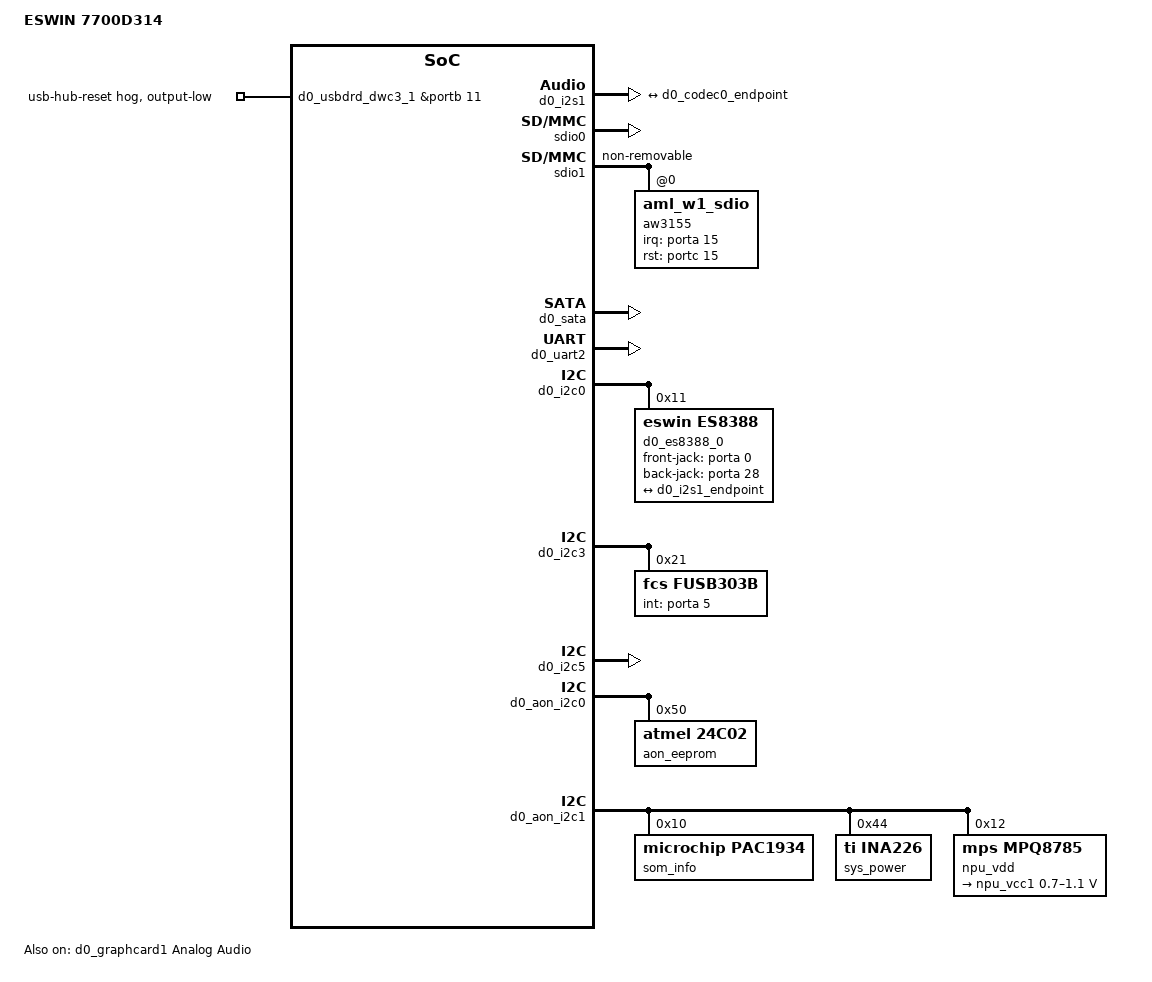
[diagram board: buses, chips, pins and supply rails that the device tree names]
// SPDX-License-Identifier: GPL-2.0
/*
 * Device Tree file for Eswin EIC7700 SoC.
 *
 * Copyright 2024, Beijing ESWIN Computing Technology Co., Ltd.. All rights reserved.
 * SPDX-License-Identifier: GPL-2.0
 *
 * This program is free software: you can redistribute it and/or modify
 * it under the terms of the GNU General Public License as published by
 * the Free Software Foundation, version 2.
 *
 * This program is distributed in the hope that it will be useful,
 * but WITHOUT ANY WARRANTY; without even the implied warranty of
 * MERCHANTABILITY or FITNESS FOR A PARTICULAR PURPOSE.  See the
 * GNU General Public License for more details.
 *
 * You should have received a copy of the GNU General Public License
 * along with this program.  If not, see <https://www.gnu.org/licenses/>.
 */

/dts-v1/;

#include "eic7700-som314.dtsi"

/ {
	#address-cells = <2>;
	#size-cells = <2>;
	model = "ESWIN 7700D314";
};

&pcie {
	/* GPIO12 PCIE PRSNT input */
};

&d0_usbdrd_dwc3_1 {
	usb-hub {
		gpio-hog;
		pinctrl-names = "default";
		pinctrl-0 = <&pinctrl_gpio43_default>;
		gpios = <&portb 11 GPIO_ACTIVE_HIGH>;
		output-low;
		line-name = "usb-hub-reset";
	};
};

&dsi_panel {
	status = "okay";
	pinctrl-names = "default";
	pinctrl-0 = <&pinctrl_gpio82_default &pinctrl_gpio85_default>;
	backlight0-gpios = <&portc 18 GPIO_ACTIVE_HIGH>;
	rst-gpios = <&portc 21 GPIO_ACTIVE_HIGH>;
};

&d0_i2s1 {
	status = "okay";
	d0_i2s1_port: port {
		d0_i2s1_endpoint: endpoint {
			remote-endpoint = <&d0_codec0_endpoint>;
			dai-format = "i2s";
		};
	};
};

&d0_i2s2 {
	/* connect WIFI module */
	status = "disabled";
};

&d0_graphcard1 {
	status = "okay";
	label = "Analog Audio";
	dais = <&d0_i2s1_port>;
};

&d0_graphcard2 {
	status = "disabled";
};

&isp_0 {
	status = "disabled";
};

&isp_1 {
	status = "disabled";
};

&sdio0 {
	/* sd card */
	status = "okay";
	delay_code = <0x55>;
	drive-impedance-ohm = <33>;
	enable-cmd-pullup;
	enable-data-pullup;
	no-sdio;
	no-mmc;
};

&sdio1 {
	/* wifi module */
	status = "okay";
	delay_code = <0x29>;
	drive-impedance-ohm = <33>;
	enable-cmd-pullup;
	enable-data-pullup;
	non-removable;
	keep-power-in-suspend;
	no-sd;
	no-mmc;
	aw3155:wifi_aw3155@0 {
		compatible = "aml_w1_sdio";
		reg = <0x0>;
		interrupt-parent = <&porta>;
		interrupts = <15 IRQ_TYPE_LEVEL_LOW>;
		pinctrl-names = "default", "default";
		pinctrl-0 = <&pinctrl_gpio15_default>;
		pinctrl-1 = <&pinctrl_gpio79_default>;
		irq-gpios = <&porta 15 GPIO_ACTIVE_HIGH>;
		rst-gpios = <&portc 15 GPIO_ACTIVE_HIGH>;
	};
};

&d0_sata {
	status = "okay";
	pinctrl-names = "default";
	pinctrl-0 = <&pinctrl_sata_act_led_default>;
};

&d0_uart1 {
	/* M.2 KEY E */
	status = "disabled";
};

&d0_uart2 {
	/* connect MCU */
	status = "okay";
};

&d0_uart3 {
	/* pin header mux with GPIO 92,93 */
	status = "disabled";
};

&d0_uart4 {
	/* unused */
	status = "disabled";
};

&ssi0 {
	/* pin header mux with GPIO 35,36,37,38,39,40 */
	status = "disabled";
};

&ssi1 {
	/* unused */
	status = "disabled";
};

&d0_i2c0 {
	/* codec es8388 */
	status = "okay";
	d0_es8388_0: es8388-0@11 {
		compatible = "eswin,es8388";
		reg = <0x11>;
		#sound-dai-cells = <0>;
		eswin-plat = <2>;
		pinctrl-names = "default";
		pinctrl-0 = <&pinctrl_gpio0_default &pinctrl_gpio28_default>;
		front-jack-gpios = <&porta 0 GPIO_ACTIVE_HIGH>;
		back-jack-gpios = <&porta 28 GPIO_ACTIVE_HIGH>;
		port {
			d0_codec0_endpoint: endpoint {
				system-clock-frequency = <12288000>;
				remote-endpoint = <&d0_i2s1_endpoint>;
			};
		};
	};
};

&d0_i2c1 {
	/* pin header mux with GPIO 46,47 */
	status = "disabled";
};

&d0_i2c2 {
	/* mipi dsi touch ctrl con */
	status = "disabled";
};

&d0_i2c3 {
	/* FUSB303B cc logic */
	status = "okay";
	fusb303b@21 {
		compatible = "fcs,fusb303b";
		status = "okay";
		reg = <0x21>;
		eswin,syscfg = <&d0_sys_con 0x3C0 12>;

		pinctrl-names = "default";
		pinctrl-0 = <&pinctrl_gpio5_default>;
		int-gpios = <&porta 5 GPIO_ACTIVE_HIGH>;
		connector {
			compatible = "usb-c-connector";
			label = "USB-C";
			data-role = "host";
		};
	};

};

&d0_i2c4 {
	/* unused */
	status = "disabled";
};

&d0_i2c5 {
	/* PCA9548 */
	status = "okay";
};

&d0_i2c6 {
	/* unused */
	status = "disabled";
};

&d0_i2c7 {
	/* unused */
	status = "disabled";
};

&d0_i2c8 {
	/* unused */
	status = "disabled";
};

&d0_i2c9 {
	/* unused */
	status = "disabled";
};

&d0_aon_i2c0 {
	/* AT24C02C EEPROM */
	status = "okay";
	eswin,syscfg = <&d0_sys_con 0x3C0 16>;
	aon_eeprom@50 {
		compatible = "atmel,24c02";
		reg = <0x50>;
	};
};

&d0_aon_i2c1 {
	/* PCA9450 & SiC451 & INA226 & PAC1934 */
	status = "okay";
	eswin,syscfg = <&d0_sys_con 0x3C0 15>;
	i2c-sda-hold-time-ns = <0x40>;
	pac1934:pmic@10 {
		compatible = "microchip,pac1934";
		/*update all register data*/
		update_time_ms = <1000>;
		eswin,chan_label = "som vdd", "soc vdd", "cpu vdd", "ddr lpvdd";
		label = "som_info";
		/*The update number of times the energy accumulates*/
		energy_acc_count = <0>;
		shunt_resistors=<1 1 1 1>;
		reg = <0x10>;
	};

	sys_power:ina226@44 {
		compatible = "ti,ina226";
		#io-channel-cells = <1>;
		label = "sys_power";
		reg = <0x44>;
		shunt-resistor = <1000>;
	};

	mpq8785@12 {
		compatible = "mps,mpq8785";
		reg = <0x12>;
		eswin,regulator_default-microvolt=<1000000>;
		eswin,regulator_label = "supply vdd1", "npu vdd1", "npu current1", "npu temperature1";
		label = "npu_vdd";
		regulators{
			npu_vcc1:npu_svcc{
				regulator-name="NPU_SVCC";
				regulator-min-microvolt=<700000>;
				regulator-max-microvolt=<1100000>;
				regulator-min-microamp=<20000000>;
				regulator-max-microamp=<40000000>;
				regulator-ov-protection-microvolt=<1100000>;
				regulator-always-on;
			};
		};
	};
};

&pinctrl {
	status = "okay";
	pinctrl-names = "default";
	pinctrl-0 = <&pinctrl_gpio6_default &pinctrl_gpio7_default &pinctrl_gpio8_default &pinctrl_gpio9_default
			&pinctrl_gpio10_default &pinctrl_gpio17_default &pinctrl_gpio35_default &pinctrl_gpio36_default
			&pinctrl_gpio37_default &pinctrl_gpio38_default &pinctrl_gpio39_default &pinctrl_gpio40_default
			&pinctrl_gpio41_default &pinctrl_gpio46_default &pinctrl_gpio52_default
			&pinctrl_gpio53_default &pinctrl_gpio64_default &pinctrl_gpio65_default &pinctrl_gpio66_default
			&pinctrl_gpio67_default &pinctrl_gpio70_default &pinctrl_gpio73_default &pinctrl_gpio83_default
			&pinctrl_gpio86_default &pinctrl_gpio87_default &pinctrl_gpio92_default &pinctrl_gpio93_default
			&pinctrl_gpio94_default>;

    /* pin header default function for GPIO
       SPI1 (CS0,SCLK,MOSI,MISO,D2,D3): GPIO 35,36,37,38,39,40
       I2C1 (SCL,SDA): GPIO 46,47
       UART3(TX,RX): GPIO 92,93
    */
};

/*
GPIO USED ON CarrierBoard:
	gpio0   : FP Audio Jack Sense(I), active low
	gpio5   : TYPE C cc logic interrupt(I), active low
	gpio11  : BT WAKE HOST(I), active low
	gpio12  : PCIE present(I), active low
	gpio14  : DSI FPC CON CTRL(J10&J11)
	gpio15  : Wlan wake host(I), active low
	gpio28  : RP audio jack sense(I), active low
	gpio29  : EMMC active led ctrl(O)

	gpio43  : USB3.2 Gen1 hub Resetn(O), active low
	gpio71  : CSI fpc con ctrl(O)
	gpio74  : CSI fpc con ctrl(O)
	gpio77  : CSI fpc con ctrl(O)
	gpio76  : HOST WAKE BT(O), active low
	gpio79  : WLAN POWER ON(O), active high
	gpio80  : CSI fpc con ctrl(O)
	gpio82  : DSI FPC CON CTRL(J10)
	gpio85  : DSI FPC CON CTRL(J11)
	gpio84  : GPIO LED CTRL(O), active high
*/
